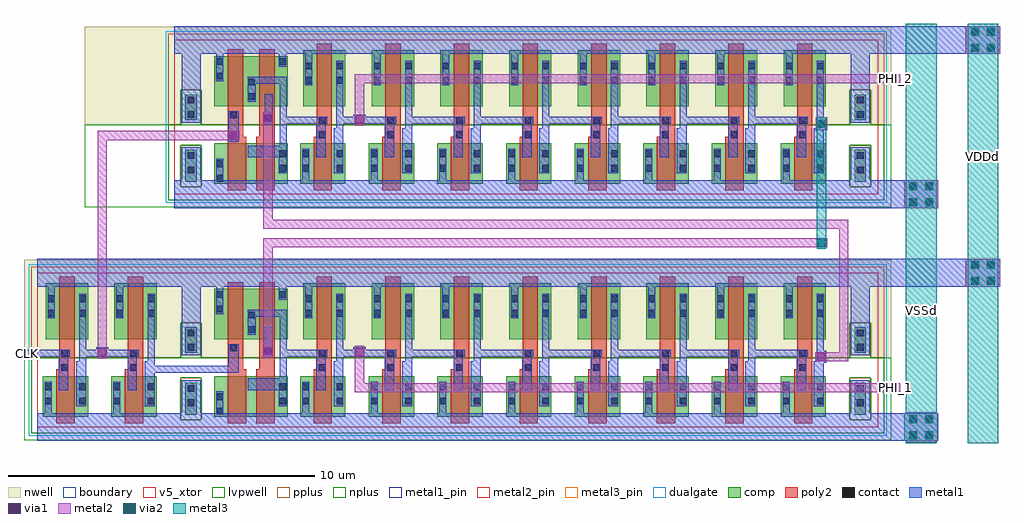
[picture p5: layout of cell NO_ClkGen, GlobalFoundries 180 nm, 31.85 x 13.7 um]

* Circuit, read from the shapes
.subckt NO_ClkGen CLK PHI_1 PHI_2 VDDd VSSd
XM1 gf180mcu_fd_sc_mcu9t5v0__nand2_1_1/A2 CLK VSSd VSSd nfet_05v0 w=1.32u l=0.6u
XM2 gf180mcu_fd_sc_mcu9t5v0__nand2_1_0/A2 gf180mcu_fd_sc_mcu9t5v0__nand2_1_1/A2 VSSd VSSd nfet_05v0 w=1.32u l=0.6u
XM3 n1 gf180mcu_fd_sc_mcu9t5v0__nand2_1_0/A2 VSSd VSSd nfet_05v0 w=1.32u l=0.6u
XM4 n2 gf180mcu_fd_sc_mcu9t5v0__nand2_1_1/A2 VSSd VSSd nfet_05v0 w=1.32u l=0.6u
XM5 gf180mcu_fd_sc_mcu9t5v0__inv_1_4/I gf180mcu_fd_sc_mcu9t5v0__nand2_1_0/A1 n1 VSSd nfet_05v0 w=1.32u l=0.6u
XM6 gf180mcu_fd_sc_mcu9t5v0__inv_1_19/I gf180mcu_fd_sc_mcu9t5v0__nand2_1_1/A1 n2 VSSd nfet_05v0 w=1.32u l=0.6u
XM7 PHI_1 gf180mcu_fd_sc_mcu9t5v0__inv_1_4/I VSSd VSSd nfet_05v0 w=1.32u l=0.6u
XM8 PHI_2 gf180mcu_fd_sc_mcu9t5v0__inv_1_19/I VSSd VSSd nfet_05v0 w=1.32u l=0.6u
XM9 gf180mcu_fd_sc_mcu9t5v0__inv_1_6/I PHI_1 VSSd VSSd nfet_05v0 w=1.32u l=0.6u
XM10 gf180mcu_fd_sc_mcu9t5v0__inv_1_17/I PHI_2 VSSd VSSd nfet_05v0 w=1.32u l=0.6u
XM11 gf180mcu_fd_sc_mcu9t5v0__inv_1_7/I gf180mcu_fd_sc_mcu9t5v0__inv_1_6/I VSSd VSSd nfet_05v0 w=1.32u l=0.6u
XM12 gf180mcu_fd_sc_mcu9t5v0__inv_1_16/I gf180mcu_fd_sc_mcu9t5v0__inv_1_17/I VSSd VSSd nfet_05v0 w=1.32u l=0.6u
XM13 gf180mcu_fd_sc_mcu9t5v0__inv_1_8/I gf180mcu_fd_sc_mcu9t5v0__inv_1_7/I VSSd VSSd nfet_05v0 w=1.32u l=0.6u
XM14 gf180mcu_fd_sc_mcu9t5v0__inv_1_15/I gf180mcu_fd_sc_mcu9t5v0__inv_1_16/I VSSd VSSd nfet_05v0 w=1.32u l=0.6u
XM15 gf180mcu_fd_sc_mcu9t5v0__inv_1_9/I gf180mcu_fd_sc_mcu9t5v0__inv_1_8/I VSSd VSSd nfet_05v0 w=1.32u l=0.6u
XM16 gf180mcu_fd_sc_mcu9t5v0__inv_1_14/I gf180mcu_fd_sc_mcu9t5v0__inv_1_15/I VSSd VSSd nfet_05v0 w=1.32u l=0.6u
XM17 gf180mcu_fd_sc_mcu9t5v0__inv_1_10/I gf180mcu_fd_sc_mcu9t5v0__inv_1_9/I VSSd VSSd nfet_05v0 w=1.32u l=0.6u
XM18 gf180mcu_fd_sc_mcu9t5v0__inv_1_13/I gf180mcu_fd_sc_mcu9t5v0__inv_1_14/I VSSd VSSd nfet_05v0 w=1.32u l=0.6u
XM19 gf180mcu_fd_sc_mcu9t5v0__inv_1_11/I gf180mcu_fd_sc_mcu9t5v0__inv_1_10/I VSSd VSSd nfet_05v0 w=1.32u l=0.6u
XM20 gf180mcu_fd_sc_mcu9t5v0__inv_1_12/I gf180mcu_fd_sc_mcu9t5v0__inv_1_13/I VSSd VSSd nfet_05v0 w=1.32u l=0.6u
XM21 gf180mcu_fd_sc_mcu9t5v0__nand2_1_1/A1 gf180mcu_fd_sc_mcu9t5v0__inv_1_11/I VSSd VSSd nfet_05v0 w=1.32u l=0.6u
XM22 gf180mcu_fd_sc_mcu9t5v0__nand2_1_0/A1 gf180mcu_fd_sc_mcu9t5v0__inv_1_12/I VSSd VSSd nfet_05v0 w=1.32u l=0.6u
XM23 gf180mcu_fd_sc_mcu9t5v0__nand2_1_1/A2 CLK VDDd VDDd pfet_05v0 w=1.83u l=0.5u
XM24 gf180mcu_fd_sc_mcu9t5v0__nand2_1_0/A2 gf180mcu_fd_sc_mcu9t5v0__nand2_1_1/A2 VDDd VDDd pfet_05v0 w=1.83u l=0.5u
XM25 gf180mcu_fd_sc_mcu9t5v0__inv_1_4/I gf180mcu_fd_sc_mcu9t5v0__nand2_1_0/A2 VDDd VDDd pfet_05v0 w=1.645u l=0.5u
XM26 gf180mcu_fd_sc_mcu9t5v0__inv_1_19/I gf180mcu_fd_sc_mcu9t5v0__nand2_1_1/A2 VDDd VDDd pfet_05v0 w=1.645u l=0.5u
XM27 VDDd gf180mcu_fd_sc_mcu9t5v0__nand2_1_0/A1 gf180mcu_fd_sc_mcu9t5v0__inv_1_4/I VDDd pfet_05v0 w=1.645u l=0.5u
XM28 VDDd gf180mcu_fd_sc_mcu9t5v0__nand2_1_1/A1 gf180mcu_fd_sc_mcu9t5v0__inv_1_19/I VDDd pfet_05v0 w=1.645u l=0.5u
XM29 PHI_1 gf180mcu_fd_sc_mcu9t5v0__inv_1_4/I VDDd VDDd pfet_05v0 w=1.83u l=0.5u
XM30 PHI_2 gf180mcu_fd_sc_mcu9t5v0__inv_1_19/I VDDd VDDd pfet_05v0 w=1.83u l=0.5u
XM31 gf180mcu_fd_sc_mcu9t5v0__inv_1_6/I PHI_1 VDDd VDDd pfet_05v0 w=1.83u l=0.5u
XM32 gf180mcu_fd_sc_mcu9t5v0__inv_1_17/I PHI_2 VDDd VDDd pfet_05v0 w=1.83u l=0.5u
XM33 gf180mcu_fd_sc_mcu9t5v0__inv_1_7/I gf180mcu_fd_sc_mcu9t5v0__inv_1_6/I VDDd VDDd pfet_05v0 w=1.83u l=0.5u
XM34 gf180mcu_fd_sc_mcu9t5v0__inv_1_16/I gf180mcu_fd_sc_mcu9t5v0__inv_1_17/I VDDd VDDd pfet_05v0 w=1.83u l=0.5u
XM35 gf180mcu_fd_sc_mcu9t5v0__inv_1_8/I gf180mcu_fd_sc_mcu9t5v0__inv_1_7/I VDDd VDDd pfet_05v0 w=1.83u l=0.5u
XM36 gf180mcu_fd_sc_mcu9t5v0__inv_1_15/I gf180mcu_fd_sc_mcu9t5v0__inv_1_16/I VDDd VDDd pfet_05v0 w=1.83u l=0.5u
XM37 gf180mcu_fd_sc_mcu9t5v0__inv_1_9/I gf180mcu_fd_sc_mcu9t5v0__inv_1_8/I VDDd VDDd pfet_05v0 w=1.83u l=0.5u
XM38 gf180mcu_fd_sc_mcu9t5v0__inv_1_14/I gf180mcu_fd_sc_mcu9t5v0__inv_1_15/I VDDd VDDd pfet_05v0 w=1.83u l=0.5u
XM39 gf180mcu_fd_sc_mcu9t5v0__inv_1_10/I gf180mcu_fd_sc_mcu9t5v0__inv_1_9/I VDDd VDDd pfet_05v0 w=1.83u l=0.5u
XM40 gf180mcu_fd_sc_mcu9t5v0__inv_1_13/I gf180mcu_fd_sc_mcu9t5v0__inv_1_14/I VDDd VDDd pfet_05v0 w=1.83u l=0.5u
XM41 gf180mcu_fd_sc_mcu9t5v0__inv_1_11/I gf180mcu_fd_sc_mcu9t5v0__inv_1_10/I VDDd VDDd pfet_05v0 w=1.83u l=0.5u
XM42 gf180mcu_fd_sc_mcu9t5v0__inv_1_12/I gf180mcu_fd_sc_mcu9t5v0__inv_1_13/I VDDd VDDd pfet_05v0 w=1.83u l=0.5u
XM43 gf180mcu_fd_sc_mcu9t5v0__nand2_1_1/A1 gf180mcu_fd_sc_mcu9t5v0__inv_1_11/I VDDd VDDd pfet_05v0 w=1.83u l=0.5u
XM44 gf180mcu_fd_sc_mcu9t5v0__nand2_1_0/A1 gf180mcu_fd_sc_mcu9t5v0__inv_1_12/I VDDd VDDd pfet_05v0 w=1.83u l=0.5u
.ends

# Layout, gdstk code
import gdstk
lib = gdstk.Library(unit=1e-6, precision=1e-09)
def R(c, l, rs):  # rectangles x0, y0, x1, y1
    for r in rs: c.add(gdstk.rectangle(r[:2], r[2:], *l))
def A(c, l, x, y, w, h, nx, ny, dx, dy):  # array of equal rectangles
    R(c, l, [(x+i*dx, y+j*dy, x+i*dx+w, y+j*dy+h) for i in range(nx) for j in range(ny)])
def P(c, l, *ps):  # polygons
    for p in ps: c.add(gdstk.Polygon(p, *l))
boundary = (0, 0)
nwell = (21, 0)
comp = (22, 0)
poly2 = (30, 0)
pplus = (31, 0)
nplus = (32, 0)
contact = (33, 0)
metal1 = (34, 0)
metal1_pin = (34, 10)
via1 = (35, 0)
metal2 = (36, 0)
metal2_pin = (36, 10)
via2 = (38, 0)
metal3 = (42, 0)
metal3_pin = (42, 10)
dualgate = (55, 0)
v5_xtor = (112, 1)
lvpwell = (204, 0)

gf180mcu_fd_sc_mcu9t5v0_ = lib.new_cell('gf180mcu_fd_sc_mcu9t5v0__nand2_1')
R(gf180mcu_fd_sc_mcu9t5v0_, boundary, [(0,0,2.8,5.04)])
R(gf180mcu_fd_sc_mcu9t5v0_, nwell, [(-0.43,2.265,3.23,5.47)])
R(gf180mcu_fd_sc_mcu9t5v0_, comp, [(0.185,0.345,2.585,1.665), (0.185,2.865,2.585,4.51)])
P(gf180mcu_fd_sc_mcu9t5v0_, poly2, [(0.625,0.125),(0.625,4.73),(1.125,4.73),(1.125,1.885),(1.225,1.885),(1.225,0.125)],
  [(1.545,0.125),(1.545,1.885),(1.645,1.885),(1.645,4.73),(2.145,4.73),(2.145,0.125)])
R(gf180mcu_fd_sc_mcu9t5v0_, pplus, [(-0.2,2.265,3,5.24)])
R(gf180mcu_fd_sc_mcu9t5v0_, nplus, [(-0.2,-0.2,3,2.265)])
R(gf180mcu_fd_sc_mcu9t5v0_, contact, [(0.255,0.415,0.475,0.635), (2.295,0.74,2.515,0.96), (0.255,0.885,0.475,1.105), (2.295,1.21,2.515,1.43), (1.835,2.39,2.055,2.61), (0.695,2.475,0.915,2.695), (1.275,3.08,1.495,3.3), (1.275,3.55,1.495,3.77), (0.255,3.75,0.475,3.97), (0.255,4.22,0.475,4.44), (2.295,4.22,2.515,4.44)])
R(gf180mcu_fd_sc_mcu9t5v0_, metal1, [(0.635,1.77,0.975,2.71), (1.83,2.33,2.09,3.27)])
P(gf180mcu_fd_sc_mcu9t5v0_, metal1, [(2.29,0.68),(2.29,1.21),(1.27,1.21),(1.27,1.59),(2.32,1.59),(2.32,3.6),(1.53,3.6),(1.53,3.02),(1.27,3.02),(1.27,3.83),(2.55,3.83),(2.55,0.68)],
  [(0,-0.45),(0,0.45),(0.25,0.45),(0.25,1.165),(0.48,1.165),(0.48,0.45),(2.8,0.45),(2.8,-0.45)],
  [(0.25,3.69),(0.25,4.59),(0,4.59),(0,5.49),(2.8,5.49),(2.8,4.59),(2.52,4.59),(2.52,4.16),(2.29,4.16),(2.29,4.59),(0.48,4.59),(0.48,3.69)])
R(gf180mcu_fd_sc_mcu9t5v0_, dualgate, [(-0.28,-0.28,3.08,5.32)])
R(gf180mcu_fd_sc_mcu9t5v0_, v5_xtor, [(0,0,2.8,5.04)])
R(gf180mcu_fd_sc_mcu9t5v0_, lvpwell, [(-0.43,-0.43,3.23,2.265)])
gf180mcu_fd_sc_mcu9t5v0_.add(gdstk.Label('A1', (1.96,2.52), layer=34, texttype=10))
gf180mcu_fd_sc_mcu9t5v0_.add(gdstk.Label('A2', (0.84,1.96), layer=34, texttype=10))
gf180mcu_fd_sc_mcu9t5v0_.add(gdstk.Label('VDD', (1.4,5.49), layer=34, texttype=10))
gf180mcu_fd_sc_mcu9t5v0_.add(gdstk.Label('VSS', (1.4,-0.45), layer=34, texttype=10))
gf180mcu_fd_sc_mcu9t5v0_.add(gdstk.Label('ZN', (1.96,1.4), layer=34, texttype=10))
gf180mcu_fd_sc_mcu9t5v0_.add(gdstk.Label('& Vendor GLOBALFOUNDRIES', (0,2), layer=63, texttype=63))
gf180mcu_fd_sc_mcu9t5v0_.add(gdstk.Label('& Product GF018hv5v_green_sc9', (0,1.5), layer=63, texttype=63))
gf180mcu_fd_sc_mcu9t5v0_.add(gdstk.Label('& Version 2015q2v2', (0,1), layer=63, texttype=63))
gf180mcu_fd_sc_mcu9t5v0_.add(gdstk.Label('& Metric 1.00', (0,0.5), layer=63, texttype=63))
gf180mcu_fd_sc_mcu9t5v0_.add(gdstk.Label('VNW', (0.345,3.92), layer=21, texttype=10))
gf180mcu_fd_sc_mcu9t5v0_.add(gdstk.Label('VPW', (0.34,-0.085), layer=204, texttype=10))

c_gf180mcu_fd_sc_mcu9t5v0_ = lib.new_cell('gf180mcu_fd_sc_mcu9t5v0__inv_1')
R(c_gf180mcu_fd_sc_mcu9t5v0_, boundary, [(0,0,2.24,5.04)])
R(c_gf180mcu_fd_sc_mcu9t5v0_, nwell, [(-0.43,2.265,2.67,5.47)])
R(c_gf180mcu_fd_sc_mcu9t5v0_, comp, [(0.18,0.345,1.66,1.665), (0.28,2.865,1.66,4.695)])
P(c_gf180mcu_fd_sc_mcu9t5v0_, poly2, [(0.62,0.125),(0.62,1.885),(0.72,1.885),(0.72,4.915),(1.22,4.915),(1.22,0.125)])
R(c_gf180mcu_fd_sc_mcu9t5v0_, pplus, [(-0.2,2.265,2.44,5.24)])
R(c_gf180mcu_fd_sc_mcu9t5v0_, nplus, [(-0.2,-0.2,2.44,2.265)])
R(c_gf180mcu_fd_sc_mcu9t5v0_, contact, [(0.25,0.74,0.47,0.96), (1.37,0.74,1.59,0.96), (0.25,1.21,0.47,1.43), (1.37,1.21,1.59,1.43), (0.79,1.835,1.01,2.055), (0.79,2.305,1.01,2.525), (0.35,3.61,0.57,3.83), (1.37,3.61,1.59,3.83), (0.35,4.08,0.57,4.3), (1.37,4.08,1.59,4.3)])
P(c_gf180mcu_fd_sc_mcu9t5v0_, metal1, [(0.71,1.21),(0.71,2.53),(1.07,2.53),(1.07,2.3),(1.015,2.3),(1.015,1.21)],
  [(1.27,0.68),(1.27,2.15),(1.365,2.15),(1.365,4.36),(1.595,4.36),(1.595,0.68)],
  [(0,-0.45),(0,0.45),(0.245,0.45),(0.245,1.49),(0.475,1.49),(0.475,0.45),(2.24,0.45),(2.24,-0.45)],
  [(0.345,3.55),(0.345,4.59),(0,4.59),(0,5.49),(2.24,5.49),(2.24,4.59),(0.575,4.59),(0.575,3.55)])
R(c_gf180mcu_fd_sc_mcu9t5v0_, dualgate, [(-0.28,-0.28,2.52,5.32)])
R(c_gf180mcu_fd_sc_mcu9t5v0_, v5_xtor, [(0,0,2.24,5.04)])
R(c_gf180mcu_fd_sc_mcu9t5v0_, lvpwell, [(-0.43,-0.43,2.67,2.265)])
c_gf180mcu_fd_sc_mcu9t5v0_.add(gdstk.Label('I', (0.84,1.96), layer=34, texttype=10))
c_gf180mcu_fd_sc_mcu9t5v0_.add(gdstk.Label('VDD', (1.12,5.49), layer=34, texttype=10))
c_gf180mcu_fd_sc_mcu9t5v0_.add(gdstk.Label('VSS', (1.12,-0.45), layer=34, texttype=10))
c_gf180mcu_fd_sc_mcu9t5v0_.add(gdstk.Label('ZN', (1.4,1.96), layer=34, texttype=10))
c_gf180mcu_fd_sc_mcu9t5v0_.add(gdstk.Label('& Vendor GLOBALFOUNDRIES', (0,2), layer=63, texttype=63))
c_gf180mcu_fd_sc_mcu9t5v0_.add(gdstk.Label('& Product GF018hv5v_green_sc9', (0,1.5), layer=63, texttype=63))
c_gf180mcu_fd_sc_mcu9t5v0_.add(gdstk.Label('& Version 2015q2v2', (0,1), layer=63, texttype=63))
c_gf180mcu_fd_sc_mcu9t5v0_.add(gdstk.Label('& Metric 1.00', (0,0.5), layer=63, texttype=63))
c_gf180mcu_fd_sc_mcu9t5v0_.add(gdstk.Label('VNW', (0.345,3.92), layer=21, texttype=10))
c_gf180mcu_fd_sc_mcu9t5v0_.add(gdstk.Label('VPW', (0.34,-0.085), layer=204, texttype=10))

c_gf180mcu_fd_sc_mcu9t5v0__ = lib.new_cell('gf180mcu_fd_sc_mcu9t5v0__endcap')
R(c_gf180mcu_fd_sc_mcu9t5v0__, boundary, [(0,0,1.12,5.04)])
R(c_gf180mcu_fd_sc_mcu9t5v0__, nwell, [(-2.93,2.265,1.55,5.47)])
R(c_gf180mcu_fd_sc_mcu9t5v0__, comp, [(0.36,0.41,0.72,1.445), (0.36,2.425,0.72,3.255)])
R(c_gf180mcu_fd_sc_mcu9t5v0__, pplus, [(0.2,0.25,0.88,1.605)])
P(c_gf180mcu_fd_sc_mcu9t5v0__, pplus, [(-0.2,2.265),(-0.2,5.24),(1.32,5.24),(1.32,2.265),(0.88,2.265),(0.88,3.415),(0.2,3.415),(0.2,2.265)])
P(c_gf180mcu_fd_sc_mcu9t5v0__, nplus, [(-0.2,-0.2),(-0.2,2.265),(0.2,2.265),(0.2,3.415),(0.88,3.415),(0.88,1.605),(0.2,1.605),(0.2,0.25),(0.88,0.25),(0.88,3.415),(0.88,2.265),(1.32,2.265),(1.32,-0.2)])
R(c_gf180mcu_fd_sc_mcu9t5v0__, contact, [(0.43,0.685,0.65,0.905), (0.43,1.155,0.65,1.375), (0.43,2.495,0.65,2.715), (0.43,2.965,0.65,3.185)])
P(c_gf180mcu_fd_sc_mcu9t5v0__, metal1, [(0,-0.45),(0,0.45),(0.23,0.45),(0.23,1.53),(0.85,1.53),(0.85,0.45),(1.12,0.45),(1.12,-0.45)],
  [(0.23,2.34),(0.23,4.59),(0,4.59),(0,5.49),(1.12,5.49),(1.12,4.59),(0.85,4.59),(0.85,2.34)])
R(c_gf180mcu_fd_sc_mcu9t5v0__, dualgate, [(-0.28,-0.28,1.4,5.32)])
R(c_gf180mcu_fd_sc_mcu9t5v0__, v5_xtor, [(0,0,1.12,5.04)])
R(c_gf180mcu_fd_sc_mcu9t5v0__, lvpwell, [(-2.93,-0.43,1.55,2.265)])
c_gf180mcu_fd_sc_mcu9t5v0__.add(gdstk.Label('VSS', (0.56,-0.45), layer=34, texttype=10))
c_gf180mcu_fd_sc_mcu9t5v0__.add(gdstk.Label('VDD', (0.56,5.49), layer=34, texttype=10))
c_gf180mcu_fd_sc_mcu9t5v0__.add(gdstk.Label('& Vendor GLOBALFOUNDRIES', (0,2), layer=63, texttype=63))
c_gf180mcu_fd_sc_mcu9t5v0__.add(gdstk.Label('& Product GF018hv5v_green_sc9', (0,1.5), layer=63, texttype=63))
c_gf180mcu_fd_sc_mcu9t5v0__.add(gdstk.Label('& Version 2015q2v2', (0,1), layer=63, texttype=63))
c_gf180mcu_fd_sc_mcu9t5v0__.add(gdstk.Label('& Metric 1.00', (0,0.5), layer=63, texttype=63))

no_clkgen = lib.new_cell('NO_ClkGen')
R(no_clkgen, pplus, [(-2.625,-4.165,-2.45,-2.2), (-2.625,3.435,-2.45,5.4)])
R(no_clkgen, nplus, [(-2.625,-6.685,-2.55,-5.045), (-2.625,0.915,-2.55,2.555)])
A(no_clkgen, metal1, -1.205, -4.57, 1.66, 0.23, 7, 1, 2.24, 0)
A(no_clkgen, metal1, 3.275, 3.03, 1.66, 0.23, 5, 1, 2.24, 0)
R(no_clkgen, metal1, [(16.47,-7.32,18.43,-6.42), (-7.245,-5.1,-4.66,-4.87), (14.475,-4.77,14.775,-4.37), (-3.585,-4.6,-3.28,-4.18), (-11.4,-4.57,-10.185,-4.34), (-9.605,-4.57,-7.945,-4.34), (-3.05,-4.57,-1.785,-4.34), (-9.05,-4.34,-8.65,-4.27), (-0.65,-4.34,-0.25,-4.27), (15.405,-2.28,20.45,-1.38), (15.45,0.28,18.43,1.18), (-4.735,2.45,-4.395,2.825), (14.475,2.82,14.775,3.24), (-3.585,3,-3.28,3.425), (-2.995,3.03,-1.86,3.26), (-1.08,3.03,0.455,3.26), (1.105,3.03,2.695,3.26), (-0.65,3.26,-0.25,3.33), (15.07,5.32,20.45,6.22)])
R(no_clkgen, metal1_pin, [(-11.4,-4.57,-11.17,-4.34)])
R(no_clkgen, via1, [(17.485,-7.26,17.745,-7), (18.005,-7.26,18.265,-7), (17.485,-6.74,17.745,-6.48), (18.005,-6.74,18.265,-6.48), (14.495,-4.7,14.755,-4.44), (-8.98,-4.55,-8.72,-4.29), (-0.58,-4.55,-0.32,-4.29), (-3.565,-4.52,-3.305,-4.26), (19.505,-2.22,19.765,-1.96), (20.025,-2.22,20.285,-1.96), (19.505,-1.7,19.765,-1.44), (20.025,-1.7,20.285,-1.44), (17.485,0.34,17.745,0.6), (18.005,0.34,18.265,0.6), (17.485,0.86,17.745,1.12), (18.005,0.86,18.265,1.12), (-4.715,2.52,-4.455,2.78), (14.495,2.9,14.755,3.16), (-0.58,3.05,-0.32,3.31), (-3.565,3.08,-3.305,3.34), (19.505,5.38,19.765,5.64), (20.025,5.38,20.285,5.64), (19.505,5.9,19.765,6.16), (20.025,5.9,20.285,6.16)])
R(no_clkgen, metal2, [(17.38,-7.36,18.37,-7.32), (17.32,-7.32,18.43,-6.42), (17.38,-6.42,18.37,-6.38), (-0.6,-5.73,17.2,-5.43), (-0.6,-5.43,-0.3,-4.21), (14.415,-4.72,15.5,-4.42), (-9,-4.63,-8.7,2.5), (-3.585,-4.6,-3.28,-1), (15.2,-4.42,15.5,-0.4), (19.34,-2.28,20.45,-1.38), (-3.585,-1,14.815,-0.7), (-3.585,-0.4,15.5,-0.1), (-3.585,-0.1,-3.28,3.425), (17.32,0.28,18.43,1.18), (-9,2.5,-4.375,2.8), (14.435,2.82,14.815,3.24), (-0.6,2.97,-0.3,4.35), (-0.6,4.35,17.2,4.65), (19.34,5.32,20.45,6.22)])
R(no_clkgen, metal2_pin, [(16.9,-5.73,17.2,-5.43), (16.9,4.35,17.2,4.65)])
R(no_clkgen, via2, [(17.485,-7.26,17.745,-7), (18.005,-7.26,18.265,-7), (17.485,-6.74,17.745,-6.48), (18.005,-6.74,18.265,-6.48), (19.505,-2.22,19.765,-1.96), (20.025,-2.22,20.285,-1.96), (19.505,-1.7,19.765,-1.44), (20.025,-1.7,20.285,-1.44), (14.495,-0.98,14.755,-0.72), (17.485,0.34,17.745,0.6), (18.005,0.34,18.265,0.6), (17.485,0.86,17.745,1.12), (18.005,0.86,18.265,1.12), (14.495,2.9,14.755,3.16), (19.505,5.38,19.765,5.64), (20.025,5.38,20.285,5.64), (19.505,5.9,19.765,6.16), (20.025,5.9,20.285,6.16)])
R(no_clkgen, metal3, [(17.37,-7.4,18.38,-7.31), (19.39,-7.4,20.4,6.3), (17.33,-7.31,18.42,-6.43), (17.37,-6.43,18.38,6.3), (14.475,-1.05,14.775,3.24)])
R(no_clkgen, metal3_pin, [(17.37,-6.43,18.38,0.29), (19.39,-1.39,20.4,5.33)])
R(no_clkgen, dualgate, [(-0.67,-6.765,-0.39,-4.965), (-5.53,-6.7,-5.425,-5.185), (-5.425,-4.965,-5.145,-4.685), (-5.53,-4.685,-5.145,-4.245), (-5.53,-4.245,-5.425,-3.375), (-2.545,-4.245,-2.53,-2.12), (-0.67,-4.245,-0.29,-1.935), (-2.825,-2.12,-2.53,-1.96), (-0.67,0.835,-0.39,2.635), (-5.53,0.9,-5.425,2.415), (-5.425,2.635,-5.145,2.915), (-5.53,2.915,-5.145,3.355), (-5.53,3.355,-5.425,4.225), (-2.545,3.355,-2.53,5.48), (-0.67,3.355,-0.29,5.665), (-2.825,5.48,-2.53,5.64)])
no_clkgen.add(gdstk.Reference(gf180mcu_fd_sc_mcu9t5v0_, (-5.37,-6.87)))
no_clkgen.add(gdstk.Reference(gf180mcu_fd_sc_mcu9t5v0_, (-5.37,0.73)))
no_clkgen.add(gdstk.Reference(c_gf180mcu_fd_sc_mcu9t5v0_, (-10.97,-6.87)))
no_clkgen.add(gdstk.Reference(c_gf180mcu_fd_sc_mcu9t5v0_, (-8.73,-6.87)))
no_clkgen.add(gdstk.Reference(c_gf180mcu_fd_sc_mcu9t5v0_, (-2.57,-6.87)))
no_clkgen.add(gdstk.Reference(c_gf180mcu_fd_sc_mcu9t5v0_, (-0.33,-6.87)))
no_clkgen.add(gdstk.Reference(c_gf180mcu_fd_sc_mcu9t5v0_, (1.91,-6.87)))
no_clkgen.add(gdstk.Reference(c_gf180mcu_fd_sc_mcu9t5v0_, (4.15,-6.87)))
no_clkgen.add(gdstk.Reference(c_gf180mcu_fd_sc_mcu9t5v0_, (6.39,-6.87)))
no_clkgen.add(gdstk.Reference(c_gf180mcu_fd_sc_mcu9t5v0_, (8.63,-6.87)))
no_clkgen.add(gdstk.Reference(c_gf180mcu_fd_sc_mcu9t5v0_, (10.87,-6.87)))
no_clkgen.add(gdstk.Reference(c_gf180mcu_fd_sc_mcu9t5v0_, (13.11,-6.87)))
no_clkgen.add(gdstk.Reference(c_gf180mcu_fd_sc_mcu9t5v0_, (13.11,0.73)))
no_clkgen.add(gdstk.Reference(c_gf180mcu_fd_sc_mcu9t5v0_, (10.87,0.73)))
no_clkgen.add(gdstk.Reference(c_gf180mcu_fd_sc_mcu9t5v0_, (8.63,0.73)))
no_clkgen.add(gdstk.Reference(c_gf180mcu_fd_sc_mcu9t5v0_, (6.39,0.73)))
no_clkgen.add(gdstk.Reference(c_gf180mcu_fd_sc_mcu9t5v0_, (4.15,0.73)))
no_clkgen.add(gdstk.Reference(c_gf180mcu_fd_sc_mcu9t5v0_, (1.91,0.73)))
no_clkgen.add(gdstk.Reference(c_gf180mcu_fd_sc_mcu9t5v0_, (-0.33,0.73)))
no_clkgen.add(gdstk.Reference(c_gf180mcu_fd_sc_mcu9t5v0_, (-2.57,0.73)))
no_clkgen.add(gdstk.Reference(c_gf180mcu_fd_sc_mcu9t5v0__, (-6.49,-6.87)))
no_clkgen.add(gdstk.Reference(c_gf180mcu_fd_sc_mcu9t5v0__, (15.35,-6.87)))
no_clkgen.add(gdstk.Reference(c_gf180mcu_fd_sc_mcu9t5v0__, (15.35,0.73)))
no_clkgen.add(gdstk.Reference(c_gf180mcu_fd_sc_mcu9t5v0__, (-6.49,0.73)))
no_clkgen.add(gdstk.Label('CLK', (-11.285,-4.455), layer=34, texttype=10))
no_clkgen.add(gdstk.Label('VSSd', (17.875,-3.07), layer=42, texttype=10))
no_clkgen.add(gdstk.Label('VDDd', (19.895,1.97), layer=42, texttype=10))
no_clkgen.add(gdstk.Label('PHI_2', (17.05,4.5), layer=36, texttype=10))
no_clkgen.add(gdstk.Label('PHI_1', (17.05,-5.58), layer=36, texttype=10))

lib.write_gds('NO_ClkGen.gds')
